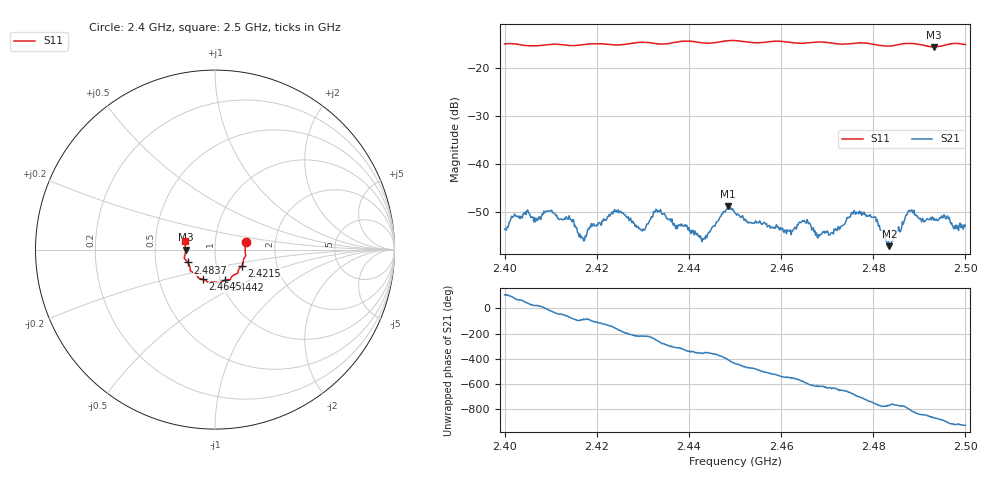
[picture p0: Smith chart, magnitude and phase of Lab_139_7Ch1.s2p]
# Hz S RI R 50
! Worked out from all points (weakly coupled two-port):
!   601 points, 2.4 GHz to 2.5 GHz, reference 50 ohm
!   highest |S21| = -48.83 dB at 2.4485 GHz (marker M1); lowest = -57.1 dB at 2.4835 GHz (marker M2)
!   lowest |S11| = -15.7 dB at 2.4932 GHz (marker M3), VSWR 1.39, Z = 35.9 - j0.0519 ohm
!   |S11| at or under -10 dB: start of sweep to end of sweep
!   S12 and S22 are empty: the file has one direction only
!   S11 on the Smith chart (normalised r, x): 2.4 GHz: 1.41, +0.12; 2.4215 GHz: 1.33, -0.25; 2.4442 GHz: 1.05, -0.37; 2.4645 GHz: 0.83, -0.29; 2.4837 GHz: 0.73, -0.11; 2.5 GHz: 0.71, +0.07
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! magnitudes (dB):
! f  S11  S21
! 2.4 GHz  -15.1  -53.5
! 2.4098 GHz  -15.2  -49.7
! 2.4167 GHz  -15.3  -55.0
! 2.4215 GHz  -15.1  -51.4
! 2.4247 GHz  -15.3  -49.5
! 2.43 GHz  -14.8  -53.5
! 2.4333 GHz  -15.1  -49.7
! 2.4442 GHz  -15.0  -54.4
! 2.4485 GHz  -14.4  -48.8
! 2.45 GHz  -14.4  -50.2
! 2.461 GHz  -14.7  -53.9
! 2.4645 GHz  -15.0  -52.0
! 2.4667 GHz  -14.8  -53.7
! 2.4708 GHz  -14.9  -54.3
! 2.4775 GHz  -14.9  -50.7
! 2.4805 GHz  -15.3  -51.0
! 2.4833 GHz  -15.6  -56.1
! 2.4835 GHz  -15.5  -57.1
! 2.4837 GHz  -15.5  -56.7
! 2.488 GHz  -15.0  -49.9
! 2.4932 GHz  -15.7  -51.7
! 2.5 GHz  -15.3  -52.7
